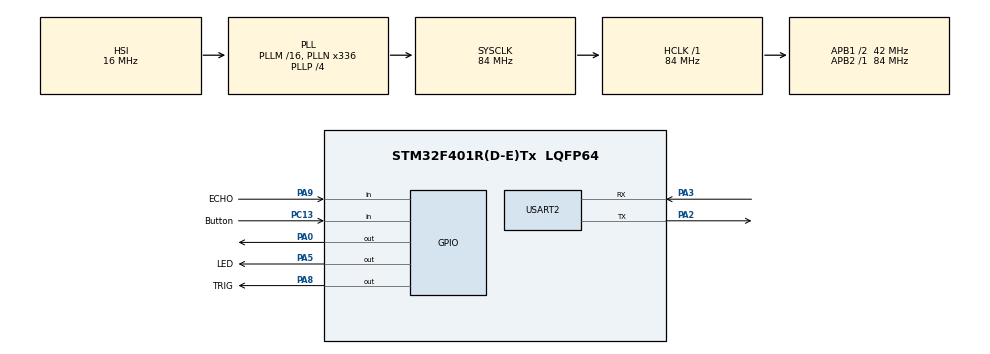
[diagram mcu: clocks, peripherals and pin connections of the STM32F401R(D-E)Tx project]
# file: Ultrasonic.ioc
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Mcu.Family=STM32F4
Mcu.Name=STM32F401R(D-E)Tx
Mcu.Package=LQFP64
NVIC.PriorityGroup=NVIC_PRIORITYGROUP_0
PA0-WKUP.Signal=GPIO_Output
PA2.Mode=Asynchronous
PA2.Signal=USART2_TX
PA3.Mode=Asynchronous
PA3.Signal=USART2_RX
PA5.GPIO_Label=LED
PA5.Signal=GPIO_Output
PA8.GPIO_Label=TRIG
PA8.Signal=GPIO_Output
PA9.GPIO_Label=ECHO
PA9.Signal=GPIO_Input
PC13-ANTI_TAMP.GPIO_Label=Button
PC13-ANTI_TAMP.Signal=GPIO_Input
ProjectManager.HeapSize=0x200
ProjectManager.StackSize=0x400
ProjectManager.TargetToolchain=STM32CubeIDE
RCC.48MHZClocksFreq_Value=48000000
RCC.AHBFreq_Value=84000000
RCC.APB1CLKDivider=RCC_HCLK_DIV2
RCC.APB1Freq_Value=42000000
RCC.APB1TimFreq_Value=84000000
RCC.APB2Freq_Value=84000000
RCC.APB2TimFreq_Value=84000000
RCC.CortexFreq_Value=84000000
RCC.HCLKFreq_Value=84000000
RCC.HSE_VALUE=8000000
RCC.HSI_VALUE=16000000
RCC.PLLN=336
RCC.PLLP=RCC_PLLP_DIV4
RCC.PLLQ=7
RCC.SYSCLKFreq_VALUE=84000000
RCC.SYSCLKSource=RCC_SYSCLKSOURCE_PLLCLK
RCC.VCOOutputFreq_Value=336000000
TIM4.Period=0
TIM4.Prescaler=84-1
USART2.VirtualMode=VM_ASYNC
VP_TIM4_VS_ClockSourceINT.Mode=Internal
board=NUCLEO-F401RE

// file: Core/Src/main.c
/* USER CODE BEGIN Header */
/**
  ******************************************************************************
  * @file           : main.c
  * @brief          : Main program body
  ******************************************************************************
  * @attention
  *
  * <h2><center>&copy; Copyright (c) 2019 STMicroelectronics.
  * All rights reserved.</center></h2>
  *
  * This software component is licensed by ST under BSD 3-Clause license,
  * the "License"; You may not use this file except in compliance with the
  * License. You may obtain a copy of the License at:
  *                        opensource.org/licenses/BSD-3-Clause
  *
  ******************************************************************************
  */
/* USER CODE END Header */
#include "main.h"

/* USER CODE BEGIN Includes */
#include <string.h>
#include <stdio.h>
/* USER CODE END Includes */

/* USER CODE BEGIN PTD */
#define usTIM	TIM4
/* USER CODE END PTD */

TIM_HandleTypeDef htim4;

UART_HandleTypeDef huart2;

void SystemClock_Config(void);
static void MX_GPIO_Init(void);
static void MX_USART2_UART_Init(void);
static void MX_TIM4_Init(void);
/* USER CODE BEGIN PFP */
void usDelay(uint32_t uSec);
/* USER CODE END PFP */

/* USER CODE BEGIN 0 */
//Speed of sound in cm/usec
const float speedOfSound = 0.0343/2;
float distance;
float alert;
int count=0;
char uartBuf[100];

/* USER CODE END 0 */

int main(void)
{

  /* USER CODE BEGIN 1 */
	uint32_t numTicks = 0;
  /* USER CODE END 1 */

  /* MCU Configuration--------------------------------------------------------*/

  /* Reset of all peripherals, Initializes the Flash interface and the Systick. */
  HAL_Init();

  /* Configure the system clock */
  SystemClock_Config();

  /* Initialize all configured peripherals */
  MX_GPIO_Init();
  MX_USART2_UART_Init();
  MX_TIM4_Init();

  /* Infinite loop */
  while (1)
  {

    /* USER CODE BEGIN 3 */
		//Set TRIG to LOW for few uSec
		HAL_GPIO_WritePin(TRIG_GPIO_Port, TRIG_Pin, GPIO_PIN_RESET);
		usDelay(3);

		//*** START Ultrasonic measure routine ***//
		//1. Output 10 usec TRIG
		HAL_GPIO_WritePin(TRIG_GPIO_Port, TRIG_Pin, GPIO_PIN_SET);
		usDelay(10);
		HAL_GPIO_WritePin(TRIG_GPIO_Port, TRIG_Pin, GPIO_PIN_RESET);

		//2. Wait for ECHO pin rising edge
		while(HAL_GPIO_ReadPin(ECHO_GPIO_Port, ECHO_Pin) == GPIO_PIN_RESET);

		//3. Start measuring ECHO pulse width in usec
		numTicks = 0;
		while(HAL_GPIO_ReadPin(ECHO_GPIO_Port, ECHO_Pin) == GPIO_PIN_SET)
		{
			numTicks++;
			usDelay(2.83); //2.8usec
		};

		//4. Estimate distance in cm
		distance = (numTicks + 0.0f)*2.83*speedOfSound;

		//5. Print to UART terminal for debugging
		sprintf(uartBuf, "Distance (cm)  = %.1f\r\n", distance);
		HAL_UART_Transmit(&huart2, (uint8_t *)uartBuf, strlen(uartBuf), 100);

		HAL_Delay(100);

		//Alert Logic

		alert+=distance;

		  if(count%5==0){

			if (alert/5.0 < 91){
				sprintf(uartBuf, "ALERT ", distance);
				HAL_UART_Transmit(&huart2, (uint8_t *)uartBuf, strlen(uartBuf), 100);
				HAL_GPIO_WritePin(GPIOA, GPIO_PIN_0, GPIO_PIN_SET);
				HAL_Delay(distance/5);
				HAL_GPIO_WritePin(GPIOA, GPIO_PIN_0, GPIO_PIN_RESET);
				HAL_Delay(distance/5);

			}

			else if ((alert/5.0 > 91)){

				HAL_GPIO_WritePin(GPIOA, GPIO_PIN_0, GPIO_PIN_RESET);
			}

			alert=0;
		  }

		count++;

  }
  /* USER CODE END 3 */
}

void SystemClock_Config(void)
{
  RCC_OscInitTypeDef RCC_OscInitStruct = {0};
  RCC_ClkInitTypeDef RCC_ClkInitStruct = {0};

  /** Configure the main internal regulator output voltage
  */
  __HAL_RCC_PWR_CLK_ENABLE();
  __HAL_PWR_VOLTAGESCALING_CONFIG(PWR_REGULATOR_VOLTAGE_SCALE2);

  /** Initializes the RCC Oscillators according to the specified parameters
  * in the RCC_OscInitTypeDef structure.
  */
  RCC_OscInitStruct.OscillatorType = RCC_OSCILLATORTYPE_HSI;
  RCC_OscInitStruct.HSIState = RCC_HSI_ON;
  RCC_OscInitStruct.HSICalibrationValue = RCC_HSICALIBRATION_DEFAULT;
  RCC_OscInitStruct.PLL.PLLState = RCC_PLL_ON;
  RCC_OscInitStruct.PLL.PLLSource = RCC_PLLSOURCE_HSI;
  RCC_OscInitStruct.PLL.PLLM = 16;
  RCC_OscInitStruct.PLL.PLLN = 336;
  RCC_OscInitStruct.PLL.PLLP = RCC_PLLP_DIV4;
  RCC_OscInitStruct.PLL.PLLQ = 7;
  if (HAL_RCC_OscConfig(&RCC_OscInitStruct) != HAL_OK)
  {
    Error_Handler();
  }

  /** Initializes the CPU, AHB and APB buses clocks
  */
  RCC_ClkInitStruct.ClockType = RCC_CLOCKTYPE_HCLK|RCC_CLOCKTYPE_SYSCLK
                              |RCC_CLOCKTYPE_PCLK1|RCC_CLOCKTYPE_PCLK2;
  RCC_ClkInitStruct.SYSCLKSource = RCC_SYSCLKSOURCE_PLLCLK;
  RCC_ClkInitStruct.AHBCLKDivider = RCC_SYSCLK_DIV1;
  RCC_ClkInitStruct.APB1CLKDivider = RCC_HCLK_DIV2;
  RCC_ClkInitStruct.APB2CLKDivider = RCC_HCLK_DIV1;

  if (HAL_RCC_ClockConfig(&RCC_ClkInitStruct, FLASH_LATENCY_2) != HAL_OK)
  {
    Error_Handler();
  }
}

static void MX_TIM4_Init(void)
{

  TIM_ClockConfigTypeDef sClockSourceConfig = {0};
  TIM_MasterConfigTypeDef sMasterConfig = {0};

  htim4.Instance = TIM4;
  htim4.Init.Prescaler = 84-1;
  htim4.Init.CounterMode = TIM_COUNTERMODE_UP;
  htim4.Init.Period = 0;
  htim4.Init.ClockDivision = TIM_CLOCKDIVISION_DIV1;
  htim4.Init.AutoReloadPreload = TIM_AUTORELOAD_PRELOAD_DISABLE;
  if (HAL_TIM_Base_Init(&htim4) != HAL_OK)
  {
    Error_Handler();
  }
  sClockSourceConfig.ClockSource = TIM_CLOCKSOURCE_INTERNAL;
  if (HAL_TIM_ConfigClockSource(&htim4, &sClockSourceConfig) != HAL_OK)
  {
    Error_Handler();
  }
  sMasterConfig.MasterOutputTrigger = TIM_TRGO_RESET;
  sMasterConfig.MasterSlaveMode = TIM_MASTERSLAVEMODE_DISABLE;
  if (HAL_TIMEx_MasterConfigSynchronization(&htim4, &sMasterConfig) != HAL_OK)
  {
    Error_Handler();
  }

}

static void MX_USART2_UART_Init(void)
{

  huart2.Instance = USART2;
  huart2.Init.BaudRate = 115200;
  huart2.Init.WordLength = UART_WORDLENGTH_8B;
  huart2.Init.StopBits = UART_STOPBITS_1;
  huart2.Init.Parity = UART_PARITY_NONE;
  huart2.Init.Mode = UART_MODE_TX_RX;
  huart2.Init.HwFlowCtl = UART_HWCONTROL_NONE;
  huart2.Init.OverSampling = UART_OVERSAMPLING_16;
  if (HAL_UART_Init(&huart2) != HAL_OK)
  {
    Error_Handler();
  }

}

static void MX_GPIO_Init(void)
{
  GPIO_InitTypeDef GPIO_InitStruct = {0};

  /* GPIO Ports Clock Enable */
  __HAL_RCC_GPIOC_CLK_ENABLE();
  __HAL_RCC_GPIOA_CLK_ENABLE();

  /*Configure GPIO pin Output Level */
  HAL_GPIO_WritePin(GPIOA, GPIO_PIN_0|LED_Pin|TRIG_Pin, GPIO_PIN_RESET);

  /*Configure GPIO pin : Button_Pin */
  GPIO_InitStruct.Pin = Button_Pin;
  GPIO_InitStruct.Mode = GPIO_MODE_INPUT;
  GPIO_InitStruct.Pull = GPIO_NOPULL;
  HAL_GPIO_Init(Button_GPIO_Port, &GPIO_InitStruct);

  /*Configure GPIO pins : PA0 LED_Pin TRIG_Pin */
  GPIO_InitStruct.Pin = GPIO_PIN_0|LED_Pin|TRIG_Pin;
  GPIO_InitStruct.Mode = GPIO_MODE_OUTPUT_PP;
  GPIO_InitStruct.Pull = GPIO_NOPULL;
  GPIO_InitStruct.Speed = GPIO_SPEED_FREQ_LOW;
  HAL_GPIO_Init(GPIOA, &GPIO_InitStruct);

  /*Configure GPIO pin : ECHO_Pin */
  GPIO_InitStruct.Pin = ECHO_Pin;
  GPIO_InitStruct.Mode = GPIO_MODE_INPUT;
  GPIO_InitStruct.Pull = GPIO_NOPULL;
  HAL_GPIO_Init(ECHO_GPIO_Port, &GPIO_InitStruct);

}

/* USER CODE BEGIN 4 */
void usDelay(uint32_t uSec)
{
	if(uSec < 2) uSec = 2;
	usTIM->ARR = uSec - 1; 	/*sets the value in the auto-reload register*/
	usTIM->EGR = 1; 			/*Re-initialises the timer*/
	usTIM->SR &= ~1; 		//Resets the flag
	usTIM->CR1 |= 1; 		//Enables the counter
	while((usTIM->SR&0x0001) != 1);
	usTIM->SR &= ~(0x0001);
}
/* USER CODE END 4 */

void Error_Handler(void)
{
}
